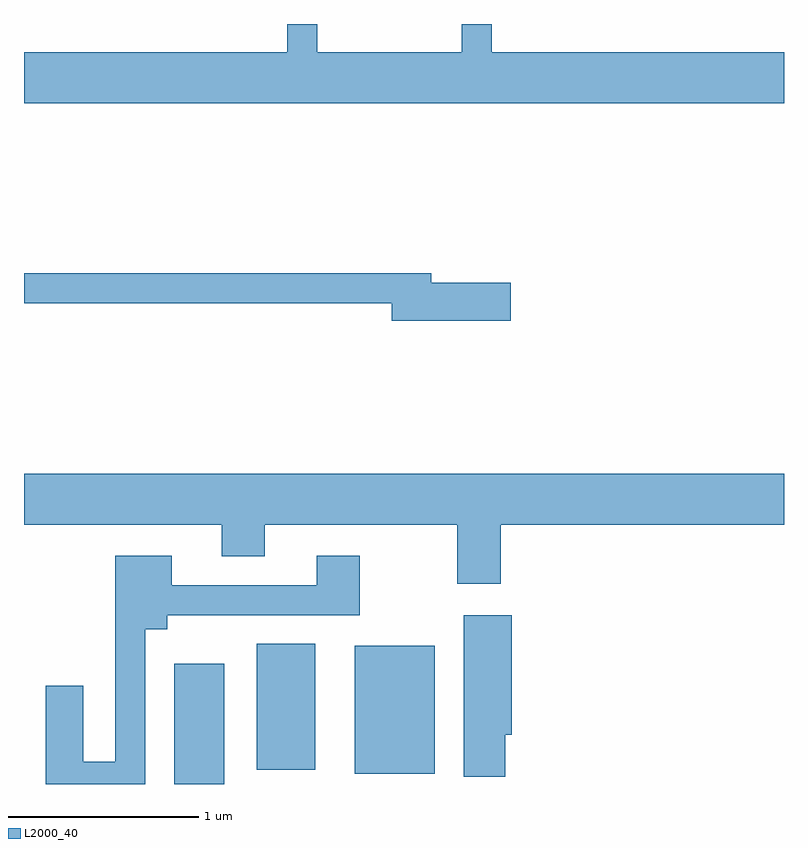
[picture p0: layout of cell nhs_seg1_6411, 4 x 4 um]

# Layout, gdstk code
import gdstk
lib = gdstk.Library(unit=1e-6, precision=1e-09)
def R(c, l, rs):  # rectangles x0, y0, x1, y1
    for r in rs: c.add(gdstk.rectangle(r[:2], r[2:], *l))
def P(c, l, *ps):  # polygons
    for p in ps: c.add(gdstk.Polygon(p, *l))
L2000_40 = (2000, 40)

nhs_seg1_6411 = lib.new_cell('nhs_seg1_6411')
R(nhs_seg1_6411, L2000_40, [(378.401,953.712,378.664,954.344), (379.351,953.766,379.774,954.439), (378.836,953.786,379.144,954.449)])
P(nhs_seg1_6411, L2000_40, [(381.611,957.564),(380.074,957.564),(380.074,957.712),(379.916,957.712),(379.916,957.564),(379.154,957.564),(379.154,957.712),(378.996,957.712),(378.996,957.564),(377.611,957.564),(377.611,957.296),(381.611,957.296)],
  [(380.174,956.349),(379.754,956.349),(379.754,956.399),(377.611,956.399),(377.611,956.241),(379.546,956.241),(379.546,956.151),(380.174,956.151)],
  [(380.119,955.076),(381.611,955.076),(381.611,955.344),(377.611,955.344),(377.611,955.076),(378.651,955.076),(378.651,954.911),(378.879,954.911),(378.879,955.076),(379.891,955.076),(379.891,954.766),(380.119,954.766)],
  [(378.249,954.526),(378.364,954.526),(378.364,954.601),(379.379,954.601),(379.379,954.914),(379.151,954.914),(379.151,954.759),(378.389,954.759),(378.389,954.914),(378.091,954.914),(378.091,953.829),(377.924,953.829),(377.924,954.229),(377.726,954.229),(377.726,953.712),(378.249,953.712)],
  [(380.144,953.971),(380.179,953.971),(380.179,954.599),(379.926,954.599),(379.926,953.751),(380.144,953.751)])

lib.write_gds('nhs_seg1_6411.gds')
